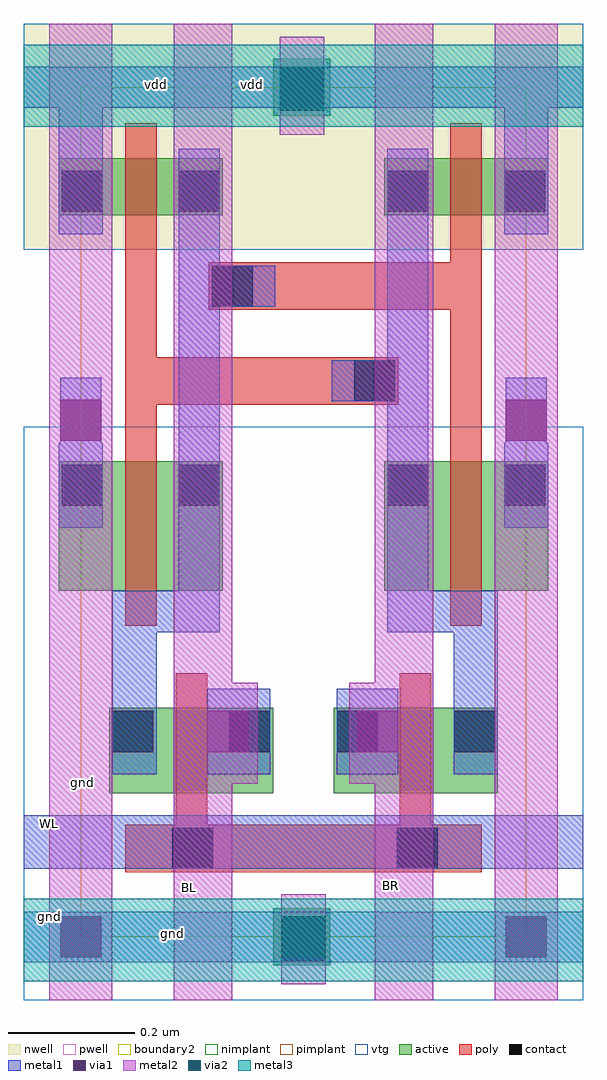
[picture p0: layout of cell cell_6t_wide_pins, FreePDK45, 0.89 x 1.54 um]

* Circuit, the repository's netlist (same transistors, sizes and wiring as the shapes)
************************************************************************
* auCdl Netlist:
* 
* Library Name:  openram
* Top Cell Name: cell_6t_wide_pins
* View Name:     schematic
* Netlisted on:  Jan 12 20:28:16 2021
************************************************************************

*.EQUATION
*.SCALE METER
*.MEGA
.PARAM



************************************************************************
* Library Name: openram
* Cell Name:    cell_6t_wide_pins
* View Name:    schematic
************************************************************************
.SUBCKT cell_6t_wide_pins BL BR WL vdd gnd
MM3 Q QBAR gnd gnd NMOS_VTG W=205.00n L=50n m=1
MM2 QBAR Q gnd gnd NMOS_VTG W=205.00n L=50n m=1
MM1 BR WL QBAR gnd NMOS_VTG W=135.00n L=50n m=1
MM0 Q WL BL gnd NMOS_VTG W=135.00n L=50n m=1
MM5 Q QBAR vdd vdd PMOS_VTG W=90n L=50n m=1
MM4 QBAR Q vdd vdd PMOS_VTG W=90n L=50n m=1
.ENDS

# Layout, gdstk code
import gdstk
lib = gdstk.Library(unit=1e-6, precision=5e-10)
def R(c, l, rs):  # rectangles x0, y0, x1, y1
    for r in rs: c.add(gdstk.rectangle(r[:2], r[2:], *l))
def A(c, l, x, y, w, h, nx, ny, dx, dy):  # array of equal rectangles
    R(c, l, [(x+i*dx, y+j*dy, x+i*dx+w, y+j*dy+h) for i in range(nx) for j in range(ny)])
active = (1, 0)
pwell = (2, 0)
nwell = (3, 0)
nimplant = (4, 0)
pimplant = (5, 0)
vtg = (6, 0)
poly = (9, 0)
contact = (10, 0)
metal1 = (11, 0)
via1 = (12, 0)
metal2 = (13, 0)
via2 = (14, 0)
metal3 = (15, 0)
boundary2 = (239, 0)

cell_6t_wide_pins = lib.new_cell('cell_6t_wide_pins')
R(cell_6t_wide_pins, active, [(0.305,-0.045,0.395,0.045), (0.045,0.2275,0.12,0.3625), (0.045,0.2275,0.12,0.3625), (0.045,0.2275,0.305,0.3625), (0.23,0.2275,0.305,0.3625), (0.23,0.2275,0.305,0.3625), (0.4,0.2275,0.475,0.3625), (0.4,0.2275,0.475,0.3625), (0.4,0.2275,0.66,0.3625), (0.585,0.2275,0.66,0.3625), (0.585,0.2275,0.66,0.3625), (0.045,0.2875,0.12,0.3625), (0.23,0.2875,0.305,0.3625), (0.4,0.2875,0.475,0.3625), (0.585,0.2875,0.66,0.3625), (-0.035,0.5475,0.04,0.7525), (-0.035,0.5475,0.04,0.7525), (-0.035,0.5475,0.225,0.7525), (0.15,0.5475,0.225,0.7525), (0.15,0.5475,0.225,0.7525), (0.48,0.5475,0.555,0.7525), (0.48,0.5475,0.555,0.7525), (0.48,0.5475,0.74,0.7525), (0.665,0.5475,0.74,0.7525), (0.665,0.5475,0.74,0.7525), (-0.035,0.6775,0.04,0.7525), (0.15,0.6775,0.225,0.7525), (0.48,0.6775,0.555,0.7525), (0.665,0.6775,0.74,0.7525), (-0.035,1.1425,0.04,1.2175), (-0.035,1.1425,0.04,1.2325), (-0.035,1.1425,0.04,1.2325), (-0.035,1.1425,0.225,1.2325), (0.15,1.1425,0.225,1.2175), (0.15,1.1425,0.225,1.2325), (0.15,1.1425,0.225,1.2325), (0.48,1.1425,0.555,1.2175), (0.48,1.1425,0.555,1.2325), (0.48,1.1425,0.555,1.2325), (0.48,1.1425,0.74,1.2325), (0.665,1.1425,0.74,1.2175), (0.665,1.1425,0.74,1.2325), (0.665,1.1425,0.74,1.2325), (0.305,1.3,0.395,1.39)])
R(cell_6t_wide_pins, pwell, [(-0.09,-0.1,0.795,0.8075), (0.2475,-0.1,0.4475,0.1), (0.2475,-0.1,0.4475,0.1)])
R(cell_6t_wide_pins, nwell, [(-0.09,1.0875,0.795,1.445)])
R(cell_6t_wide_pins, nimplant, [(0.045,0.2275,0.305,0.3625), (0.4,0.2275,0.66,0.3625), (-0.035,0.5475,0.225,0.7525), (0.48,0.5475,0.74,0.7525), (0.305,1.3,0.395,1.39)])
R(cell_6t_wide_pins, pimplant, [(0.305,-0.045,0.395,0.045), (-0.035,1.1425,0.225,1.2325), (0.48,1.1425,0.74,1.2325)])
R(cell_6t_wide_pins, vtg, [(-0.09,-0.1,0.795,0.8075), (-0.09,1.0875,0.795,1.445)])
R(cell_6t_wide_pins, poly, [(0.07,0.1025,0.635,0.1775), (0.2975,0.1025,0.3725,0.1775), (0.15,0.1725,0.2,0.2275), (0.15,0.1725,0.2,0.4175), (0.505,0.1725,0.555,0.2275), (0.505,0.1725,0.555,0.4175), (0.15,0.3625,0.2,0.4175), (0.505,0.3625,0.555,0.4175), (0.07,0.4925,0.12,0.5475), (0.07,0.4925,0.12,0.8075), (0.585,0.4925,0.635,0.5475), (0.585,0.4925,0.635,0.8075), (0.07,0.7525,0.12,0.8075), (0.585,0.7525,0.635,0.8075), (0.07,0.8075,0.12,1.0875), (0.07,0.8075,0.12,1.0875), (0.585,0.8075,0.635,1.0875), (0.585,0.8075,0.635,1.0875), (0.07,0.8425,0.5025,0.9175), (0.4275,0.8425,0.5025,0.9175), (0.4275,0.8425,0.5025,0.9175), (0.2025,0.9925,0.635,1.0675), (0.2025,0.9925,0.2775,1.0675), (0.2025,0.9925,0.2775,1.0675), (0.07,1.0875,0.12,1.1425), (0.07,1.0875,0.12,1.2875), (0.585,1.0875,0.635,1.1425), (0.585,1.0875,0.635,1.2875), (0.07,1.2325,0.12,1.2875), (0.585,1.2325,0.635,1.2875)])
R(cell_6t_wide_pins, contact, [(0.32,-0.0325,0.385,0.0325), (0.145,0.1075,0.21,0.1725), (0.5,0.1075,0.565,0.1725), (0.05,0.2925,0.115,0.3575), (0.235,0.2925,0.3,0.3575), (0.405,0.2925,0.47,0.3575), (0.59,0.2925,0.655,0.3575), (-0.03,0.6825,0.035,0.7475), (0.155,0.6825,0.22,0.7475), (0.485,0.6825,0.55,0.7475), (0.67,0.6825,0.735,0.7475), (0.4325,0.8475,0.4975,0.9125), (0.4325,0.8475,0.4975,0.9125), (0.2075,0.9975,0.2725,1.0625), (0.2075,0.9975,0.2725,1.0625), (-0.03,1.1475,0.035,1.2125), (0.155,1.1475,0.22,1.2125), (0.485,1.1475,0.55,1.2125), (0.67,1.1475,0.735,1.2125), (0.3175,1.3125,0.3825,1.3775)])
R(cell_6t_wide_pins, metal1, [(-0.09,-0.04,0.795,0.04), (-0.09,0.1075,0.795,0.1925), (0.2675,0.1075,0.4025,0.1725), (0.05,0.2575,0.12,0.3925), (0.2,0.2575,0.265,0.3925), (0.235,0.2575,0.3,0.3925), (0.405,0.2575,0.47,0.3925), (0.4375,0.2575,0.5025,0.3925), (0.59,0.2575,0.655,0.3925), (0.59,0.2575,0.66,0.5475), (0.05,0.265,0.12,0.5475), (0.05,0.265,0.115,0.3925), (0.05,0.4825,0.22,0.5475), (0.155,0.4825,0.22,1.2225), (0.485,0.4825,0.66,0.5475), (0.485,0.4825,0.55,1.1125), (-0.035,0.6475,0.035,0.7825), (-0.035,0.6475,0.035,0.7825), (-0.03,0.6475,0.035,0.7825), (0.155,0.6475,0.22,0.7825), (0.485,0.6475,0.55,0.7825), (0.67,0.6475,0.74,0.7825), (0.67,0.6475,0.74,0.7825), (0.67,0.6475,0.74,0.7825), (0.67,0.6475,0.74,0.7825), (0.67,0.6475,0.74,0.7825), (0.67,0.6475,0.74,0.7825), (0.67,0.6475,0.735,0.7825), (-0.0325,0.75,0.0325,0.885), (-0.0325,0.75,0.0325,0.885), (-0.0325,0.75,0.0325,0.885), (-0.0325,0.75,0.0325,0.885), (-0.0325,0.75,0.0325,0.885), (-0.0325,0.75,0.0325,0.885), (0.6725,0.75,0.7375,0.885), (0.6725,0.75,0.7375,0.885), (0.6725,0.75,0.7375,0.885), (0.6725,0.75,0.7375,0.885), (0.6725,0.75,0.7375,0.885), (0.6725,0.75,0.7375,0.885), (0.6725,0.75,0.7375,0.885), (0.6725,0.75,0.7375,0.885), (0.6725,0.75,0.7375,0.885), (0.6725,0.75,0.7375,0.885), (0.6725,0.75,0.7375,0.885), (0.6725,0.75,0.7375,0.885), (0.6725,0.75,0.7375,0.885), (0.6725,0.75,0.7375,0.885), (0.6725,0.75,0.7375,0.885), (0.6725,0.75,0.7375,0.885), (0.6725,0.75,0.7375,0.885), (0.6725,0.75,0.7375,0.885), (0.6725,0.75,0.7375,0.885), (0.6725,0.75,0.7375,0.885), (0.6725,0.75,0.7375,0.885), (0.6725,0.75,0.7375,0.885), (0.6725,0.75,0.7375,0.885), (0.6725,0.75,0.7375,0.885), (0.3975,0.8475,0.5325,0.9125), (0.3975,0.8475,0.5325,0.9125), (0.1725,0.9975,0.3075,1.0625), (0.1725,0.9975,0.3075,1.0625), (-0.035,1.1125,0.035,1.3125), (-0.03,1.1125,0.035,1.2475), (0.155,1.1125,0.22,1.2475), (0.485,1.1125,0.55,1.2475), (0.67,1.1125,0.74,1.3125), (0.67,1.1125,0.74,1.3125), (0.67,1.1125,0.735,1.2475), (-0.09,1.3125,0.795,1.3775)])
A(cell_6t_wide_pins, via1, -0.0325, -0.0325, 0.065, 0.065, 3, 1, 0.3525, 0)
R(cell_6t_wide_pins, via1, [(0.6725,-0.0325,0.7375,0.0325), (0.6725,-0.0325,0.7375,0.0325), (0.2,0.2925,0.265,0.3575), (0.4375,0.2925,0.5025,0.3575), (-0.0325,0.785,0.0325,0.85), (-0.0325,0.785,0.0325,0.85), (-0.0325,0.785,0.0325,0.85), (-0.0325,0.785,0.0325,0.85), (-0.0325,0.785,0.0325,0.85), (-0.0325,0.785,0.0325,0.85), (0.6725,0.785,0.7375,0.85), (0.6725,0.785,0.7375,0.85), (0.6725,0.785,0.7375,0.85), (0.6725,0.785,0.7375,0.85), (0.6725,0.785,0.7375,0.85), (0.6725,0.785,0.7375,0.85), (0.6725,0.785,0.7375,0.85), (0.6725,0.785,0.7375,0.85), (0.6725,0.785,0.7375,0.85), (0.6725,0.785,0.7375,0.85), (0.6725,0.785,0.7375,0.85), (0.6725,0.785,0.7375,0.85), (0.6725,0.785,0.7375,0.85), (0.6725,0.785,0.7375,0.85), (0.6725,0.785,0.7375,0.85), (0.6725,0.785,0.7375,0.85), (0.6725,0.785,0.7375,0.85), (0.6725,0.785,0.7375,0.85), (0.6725,0.785,0.7375,0.85), (0.6725,0.785,0.7375,0.85), (0.6725,0.785,0.7375,0.85), (0.6725,0.785,0.7375,0.85), (0.6725,0.785,0.7375,0.85), (0.6725,0.785,0.7375,0.85), (0.3175,1.3125,0.3825,1.3775)])
R(cell_6t_wide_pins, metal2, [(-0.05,-0.1,0.05,1.445), (0.1475,-0.1,0.24,1.445), (0.465,-0.1,0.5575,1.445), (0.655,-0.1,0.755,1.445), (0.3175,-0.075,0.3875,0.0675), (0.195,0.2425,0.28,0.4025), (0.425,0.2425,0.51,0.4025), (0.1975,0.2575,0.2675,0.3925), (0.435,0.2575,0.505,0.3925), (-0.035,0.75,0.035,0.885), (-0.035,0.75,0.035,0.885), (-0.035,0.75,0.035,0.885), (-0.035,0.75,0.035,0.885), (-0.035,0.75,0.035,0.885), (-0.035,0.75,0.035,0.885), (0.67,0.75,0.74,0.885), (0.67,0.75,0.74,0.885), (0.67,0.75,0.74,0.885), (0.67,0.75,0.74,0.885), (0.67,0.75,0.74,0.885), (0.67,0.75,0.74,0.885), (0.67,0.75,0.74,0.885), (0.67,0.75,0.74,0.885), (0.67,0.75,0.74,0.885), (0.67,0.75,0.74,0.885), (0.67,0.75,0.74,0.885), (0.67,0.75,0.74,0.885), (0.67,0.75,0.74,0.885), (0.67,0.75,0.74,0.885), (0.67,0.75,0.74,0.885), (0.67,0.75,0.74,0.885), (0.67,0.75,0.74,0.885), (0.67,0.75,0.74,0.885), (0.67,0.75,0.74,0.885), (0.67,0.75,0.74,0.885), (0.67,0.75,0.74,0.885), (0.67,0.75,0.74,0.885), (0.67,0.75,0.74,0.885), (0.67,0.75,0.74,0.885), (0.315,1.27,0.385,1.425)])
R(cell_6t_wide_pins, via2, [(0.3175,-0.0375,0.3875,0.0325), (0.315,1.3075,0.385,1.3775)])
R(cell_6t_wide_pins, metal3, [(-0.09,-0.07,0.795,0.06), (-0.09,1.2825,0.795,1.4125)])
R(cell_6t_wide_pins, boundary2, [(0,0,0.705,1.345)])
cell_6t_wide_pins.add(gdstk.Label('gnd', (-0.05,0.032), layer=11, texttype=0))
cell_6t_wide_pins.add(gdstk.Label('WL', (-0.05,0.1795), layer=11, texttype=0))
cell_6t_wide_pins.add(gdstk.Label('vdd', (0.12,1.35), layer=11, texttype=0))
cell_6t_wide_pins.add(gdstk.Label('BR', (0.49,0.0805), layer=13, texttype=0))
cell_6t_wide_pins.add(gdstk.Label('gnd', (0.0025,0.245), layer=13, texttype=0))
cell_6t_wide_pins.add(gdstk.Label('BL', (0.1725,0.078), layer=13, texttype=0))
cell_6t_wide_pins.add(gdstk.Label('gnd', (0.145,0.005), layer=15, texttype=0))
cell_6t_wide_pins.add(gdstk.Label('vdd', (0.2725,1.35), layer=15, texttype=0))

lib.write_gds('cell_6t_wide_pins.gds')
